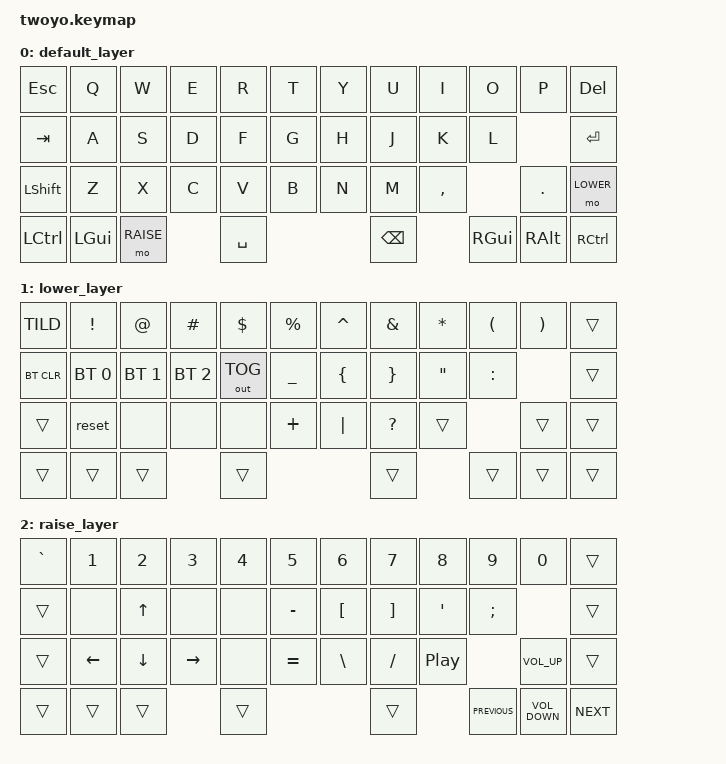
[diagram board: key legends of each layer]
/*
 * Copyright (c) 2020 The ZMK Contributors
 *
 * SPDX-License-Identifier: MIT
 */

#include <behaviors.dtsi>
#include <dt-bindings/zmk/bt.h>
#include <dt-bindings/zmk/keys.h>
#include <dt-bindings/zmk/outputs.h>

#define DEFAULT 0
#define LOWER   1
#define RAISE   2

/ {
    keymap {
        compatible = "zmk,keymap";

        default_layer {
            // -----------------------------------------------------------------------------------------
            // |  ESC |  Q  |  W  |  E  |  R  |  T  |   |  Y  |  U   |  I  |  O  |  P  | DELETE |
            // | TAB  |  A  |  S  |  D  |  F  |  G  |    |  H  |  J   |  K  |  L  |   ENTER   |
            // | SHFT |  Z  |  X  |  C  |  V  |  B  |     |  N  |  M   |  ,  |  .  |  LOWER   |
            // | CTL | GUI/Windows | Raise |  | SPACE |        | BKSP |       | ALT/Windows | GUI  | CTL |

            bindings = <
&kp ESC           &kp Q     &kp W      &kp E  &kp R      &kp T    &kp Y  &kp U     &kp I      &kp O     &kp P     &kp DEL
&kp TAB           &kp A     &kp S      &kp D  &kp F      &kp G    &kp H  &kp J     &kp K      &kp L               &kp ENTER
&kp LSHFT         &kp Z     &kp X      &kp C  &kp V      &kp B    &kp N  &kp M     &kp COMMA            &kp DOT   &mo LOWER
&kp LEFT_CONTROL  &kp LGUI  &mo RAISE         &kp SPACE                  &kp BSPC             &kp RGUI  &kp RALT  &kp RCTL
            >;
        };

        lower_layer {
            // -----------------------------------------------------------------------------------------
            // | TILD  |  !  |  @  |  #  |  $  |  %  |     |  ^  |  &  |  *  |  (  |  )  |      |
            // | BTCLR| BT0 | BT1 | BT2 | OUT |  _   |     | {  |  }  |  "  |  :  |             |           
            // |      | RST |     |     |     |  +   |     | "|" | ?  |     |        |          |      
            // |     |     |    |                    |     |                |     |      |      |

            bindings = <
&kp TILD    &kp EXCL      &kp AT        &kp HASH      &kp DLLR      &kp PRCNT    &kp CARET  &kp AMPS   &kp STAR  &kp LPAR   &kp RPAR  &trans
&bt BT_CLR  &bt BT_SEL 0  &bt BT_SEL 1  &bt BT_SEL 2  &out OUT_TOG  &kp UNDER    &kp LBRC   &kp RBRC   &kp DQT   &kp COLON            &trans
&trans      &reset        &none         &none         &none         &kp PLUS     &kp PIPE   &kp QMARK  &trans               &trans    &trans
&trans      &trans        &trans                      &trans                                &trans               &trans     &trans    &trans
            >;
        };

        raise_layer {
            // -----------------------------------------------------------------------------------------
            // | GRV |  1  |  2  |  3  |  4 |  5    |     |  6  |  7  |  8  |  9  |  0  |      |
            // |     |     | UP  |     |    |  -  |     |  [  |  ]  |  '  |  ;  |     |
            // |     | LFT | DWN | RGT |     |   =  |     |  \  |  /  |  Media Ctrl  |  Vol. +  |     | 
            // |     |     |     |                  |     |           |  Prev  |  Vol. -  |  Next  |

            bindings = <
&kp GRAVE  &kp N1    &kp N2    &kp N3     &kp N4  &kp N5       &kp N6    &kp N7    &kp N8            &kp N9          &kp N0             &trans
&trans     &none     &kp UP    &none      &none   &kp MINUS    &kp LBKT  &kp RBKT  &kp SQT           &kp SEMI                           &trans
&trans     &kp LEFT  &kp DOWN  &kp RIGHT  &none   &kp EQUAL    &kp BSLH  &kp FSLH  &kp C_PLAY_PAUSE                  &kp C_VOLUME_UP    &trans
&trans     &trans    &trans               &trans                         &trans                      &kp C_PREVIOUS  &kp C_VOLUME_DOWN  &kp C_NEXT
            >;
        };
    };
};
